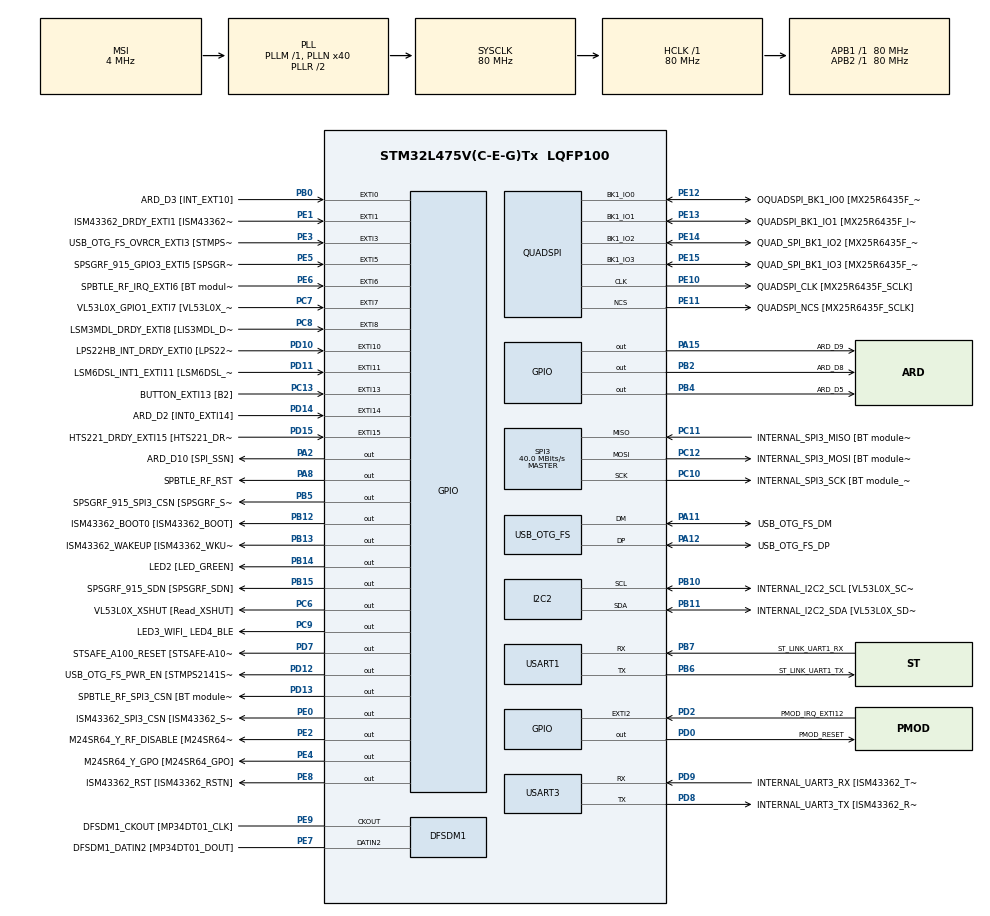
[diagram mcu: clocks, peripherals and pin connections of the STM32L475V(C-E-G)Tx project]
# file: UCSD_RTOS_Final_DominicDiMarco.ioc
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FREERTOS.Queues01=myQueue01,4,uint16_t,0,Dynamic,NULL,NULL
FREERTOS.Tasks01=TaskLED,0,128,StartTaskLED,Default,NULL,Dynamic,NULL,NULL;PeriodTimerLED,0,128,StartPeriodTimerLED,Default,NULL,Dynamic,NULL,NULL;OneShotTimerLED,0,128,StartOneShotTimerLED,Default,NULL,Dynamic,NULL,NULL;Queue1LEDs,0,128,StartQueue1LEDs,Default,NULL,Dynamic,NULL,NULL;Queue2LEDs,0,128,StartRQueue2LEDs,Default,NULL,Dynamic,NULL,NULL
FREERTOS.Timers01=myTimer01,Callback01,osTimerPeriodic,Default,NULL,Dynamic,NULL;myTimer02,Callback02,osTimerOnce,Default,NULL,Dynamic,NULL
FREERTOS.configTIMER_TASK_PRIORITY=1
FREERTOS.configTOTAL_HEAP_SIZE=5300
FREERTOS.configUSE_MALLOC_FAILED_HOOK=1
FREERTOS.configUSE_TIMERS=1
Mcu.Family=STM32L4
Mcu.Name=STM32L475V(C-E-G)Tx
Mcu.Package=LQFP100
NVIC.EXTI15_10_IRQn=true\:5\:0\:false\:false\:true\:true\:true\:true
NVIC.EXTI9_5_IRQn=true\:5\:0\:false\:false\:true\:true\:true\:true
NVIC.PriorityGroup=NVIC_PRIORITYGROUP_4
NVIC.TIM1_UP_TIM16_IRQn=true\:0\:0\:false\:false\:true\:false\:false\:true
NVIC.TimeBase=TIM1_UP_TIM16_IRQn
NVIC.TimeBaseIP=TIM1
PA0.GPIO_Label=ARD_D1 [UART4_TX]
PA0.Signal=UART4_TX
PA1.GPIO_Label=ARD_D0 [UART4_RX]
PA1.Signal=UART4_RX
PA10.GPIO_Label=USB_OTG_FS_ID
PA10.Signal=USB_OTG_FS_ID
PA11.GPIO_Label=USB_OTG_FS_DM
PA11.Mode=Device_Only
PA11.Signal=USB_OTG_FS_DM
PA12.GPIO_Label=USB_OTG_FS_DP
PA12.Mode=Device_Only
PA12.Signal=USB_OTG_FS_DP
PA13\ (JTMS-SWDIO).GPIO_Label=SYS_JTMS_SWDIO
PA13\ (JTMS-SWDIO).Mode=Serial_Wire
PA13\ (JTMS-SWDIO).Signal=SYS_JTMS-SWDIO
PA14\ (JTCK-SWCLK).GPIO_Label=SYS_JTCK_SWCLK
PA14\ (JTCK-SWCLK).Mode=Serial_Wire
PA14\ (JTCK-SWCLK).Signal=SYS_JTCK-SWCLK
PA15\ (JTDI).GPIO_Label=ARD_D9
PA15\ (JTDI).GPIO_PuPd=GPIO_PULLDOWN
PA15\ (JTDI).Signal=GPIO_Output
PA2.GPIO_Label=ARD_D10 [SPI_SSN]
PA2.GPIO_PuPd=GPIO_PULLDOWN
PA2.Signal=GPIO_Output
PA3.GPIO_Label=ARD_D4
PA3.Signal=S_TIM2_CH4
PA4.GPIO_Label=ARD_D7
PA4.Signal=ADCx_IN9
PA5.GPIO_Label=ARD_D13 [SPI1_SCK]
PA5.Signal=SPI1_SCK
PA6.GPIO_Label=ARD_D12 [SPI1_MISO]
PA6.Signal=SPI1_MISO
PA7.GPIO_Label=ARD_D11 [SPI1_MOSI]
PA7.Signal=SPI1_MOSI
PA8.GPIO_Label=SPBTLE_RF_RST
PA8.Signal=GPIO_Output
PA9.GPIO_Label=USB_OTG_FS_VBUS [STMPS2141STR_OUT]
PA9.Signal=USB_OTG_FS_VBUS
PB0.GPIO_Label=ARD_D3 [INT_EXT10]
PB0.Signal=GPXTI0
PB1.GPIO_Label=ARD_D6 [ADC1_IN6]
PB1.Signal=ADCx_IN16
PB10.GPIO_Label=INTERNAL_I2C2_SCL [VL53L0X_SCL]
PB10.Mode=I2C
PB10.Signal=I2C2_SCL
PB11.GPIO_Label=INTERNAL_I2C2_SDA [VL53L0X_SDA]
PB11.Mode=I2C
PB11.Signal=I2C2_SDA
PB12.GPIO_Label=ISM43362_BOOT0 [ISM43362_BOOT]
PB12.Signal=GPIO_Output
PB13.GPIO_Label=ISM43362_WAKEUP [ISM43362_WKUP]
PB13.Signal=GPIO_Output
PB14.GPIO_Label=LED2 [LED_GREEN]
PB14.Signal=GPIO_Output
PB15.GPIO_Label=SPSGRF_915_SDN [SPSGRF_SDN]
PB15.Signal=GPIO_Output
PB2.GPIO_Label=ARD_D8
PB2.GPIO_PuPd=GPIO_PULLDOWN
PB2.Signal=GPIO_Output
PB3\ (JTDO-TRACESWO).GPIO_Label=SYS_JTD0_SWO
PB3\ (JTDO-TRACESWO).Signal=SYS_JTDO-SWO
PB4\ (NJTRST).GPIO_Label=ARD_D5
PB4\ (NJTRST).GPIO_PuPd=GPIO_PULLDOWN
PB4\ (NJTRST).Signal=GPIO_Output
PB5.GPIO_Label=SPSGRF_915_SPI3_CSN [SPSGRF_SPI_CS]
PB5.PinState=GPIO_PIN_SET
PB5.Signal=GPIO_Output
PB6.GPIO_Label=ST_LINK_UART1_TX
PB6.Mode=Asynchronous
PB6.Signal=USART1_TX
PB7.GPIO_Label=ST_LINK_UART1_RX
PB7.Mode=Asynchronous
PB7.Signal=USART1_RX
PB8.GPIO_Label=ARD_D15 [I2C1_SCL]
PB8.Signal=I2C1_SCL
PB9.GPIO_Label=ARD_D14 [I2C1_SDA]
PB9.Signal=I2C1_SDA
PC0.GPIO_Label=ARD_A5 [ADC]
PC0.Signal=ADCx_IN1
PC1.GPIO_Label=ARD_A4 [ADC]
PC1.Signal=ADCx_IN2
PC10.GPIO_Label=INTERNAL_SPI3_SCK [BT module_SPI_SCLK] [ISM43362_SCK]
PC10.Mode=Full_Duplex_Master
PC10.Signal=SPI3_SCK
PC11.GPIO_Label=INTERNAL_SPI3_MISO [BT module_SPI_MISO] [ISM43362_MISO]
PC11.Mode=Full_Duplex_Master
PC11.Signal=SPI3_MISO
PC12.GPIO_Label=INTERNAL_SPI3_MOSI [BT module_SPI_MOSI] [ISM43362_MOSI]
PC12.Mode=Full_Duplex_Master
PC12.Signal=SPI3_MOSI
PC13.GPIO_Label=BUTTON_EXTI13 [B2]
PC13.GPIO_ModeDefaultEXTI=GPIO_MODE_IT_FALLING
PC13.Signal=GPXTI13
PC14-OSC32_IN\ (PC14).Mode=LSE-External-Oscillator
PC14-OSC32_IN\ (PC14).Signal=RCC_OSC32_IN
PC15-OSC32_OUT\ (PC15).Mode=LSE-External-Oscillator
PC15-OSC32_OUT\ (PC15).Signal=RCC_OSC32_OUT
PC2.GPIO_Label=ARD_A3 [ADC]
PC2.Signal=ADCx_IN3
PC3.GPIO_Label=ARD_A2 [ADC]
PC3.Signal=ADCx_IN4
PC4.GPIO_Label=ARD_A1 [ADC]
PC4.Signal=ADCx_IN13
PC5.GPIO_Label=ARD_A0 [ADC]
PC5.Signal=ADCx_IN14
PC6.GPIO_Label=VL53L0X_XSHUT [Read_XSHUT]
PC6.Signal=GPIO_Output
PC7.GPIO_Label=VL53L0X_GPIO1_EXTI7 [VL53L0X_GPIO1]
PC7.Signal=GPXTI7
PC8.GPIO_Label=LSM3MDL_DRDY_EXTI8 [LIS3MDL_DRDY]
PC8.Signal=GPXTI8
PC9.GPIO_Label=LED3_WIFI_ LED4_BLE
PC9.Signal=GPIO_Output
PD0.GPIO_Label=PMOD_RESET
PD0.Signal=GPIO_Output
PD1.GPIO_Label=PMOD_SPI2_SCK
PD1.Signal=SPI2_SCK
PD10.GPIO_Label=LPS22HB_INT_DRDY_EXTI0 [LPS22HB_INT_DRDY] 
PD10.Signal=GPXTI10
PD11.GPIO_Label=LSM6DSL_INT1_EXTI11 [LSM6DSL_INT1]
PD11.Signal=GPXTI11
PD12.GPIO_Label=USB_OTG_FS_PWR_EN [STMPS2141STR_EN]
PD12.Signal=GPIO_Output
PD13.GPIO_Label=SPBTLE_RF_SPI3_CSN [BT module_SPI_CS]
PD13.PinState=GPIO_PIN_SET
PD13.Signal=GPIO_Output
PD14.GPIO_Label=ARD_D2 [INT0_EXTI14]
PD14.Signal=GPXTI14
PD15.GPIO_Label=HTS221_DRDY_EXTI15 [HTS221_DRDY]
PD15.Signal=GPXTI15
PD2.GPIO_Label=PMOD_IRQ_EXTI12
PD2.Signal=GPXTI2
PD3.GPIO_Label=PMOD_UART2_CTS
PD3.Signal=USART2_CTS
PD4.GPIO_Label=PMOD_UART2_RTS
PD4.Signal=USART2_RTS
PD5.GPIO_Label=PMOD_UART2_TX
PD5.Signal=USART2_TX
PD6.GPIO_Label=PMOD_UART2_RX
PD6.Signal=USART2_RX
PD7.GPIO_Label=STSAFE_A100_RESET [STSAFE-A100_RESET]
PD7.Signal=GPIO_Output
PD8.GPIO_Label=INTERNAL_UART3_TX [ISM43362_RX]
PD8.Mode=Asynchronous
PD8.Signal=USART3_TX
PD9.GPIO_Label=INTERNAL_UART3_RX [ISM43362_TX]
PD9.Mode=Asynchronous
PD9.Signal=USART3_RX
PE0.GPIO_Label=ISM43362_SPI3_CSN [ISM43362_SSN]
PE0.PinState=GPIO_PIN_SET
PE0.Signal=GPIO_Output
PE1.GPIO_Label=ISM43362_DRDY_EXTI1 [ISM43362_DATARDY]
PE1.Signal=GPXTI1
PE10.GPIO_Label=QUADSPI_CLK [MX25R6435F_SCLK]
PE10.Mode=Single Bank
PE10.Signal=QUADSPI_CLK
PE11.GPIO_Label=QUADSPI_NCS [MX25R6435F_SCLK]
PE11.Mode=Single Bank
PE11.Signal=QUADSPI_NCS
PE12.GPIO_Label=OQUADSPI_BK1_IO0 [MX25R6435F_IO0]
PE12.Mode=Single Bank
PE12.Signal=QUADSPI_BK1_IO0
PE13.GPIO_Label=QUADSPI_BK1_IO1 [MX25R6435F_IO1]
PE13.Mode=Single Bank
PE13.Signal=QUADSPI_BK1_IO1
PE14.GPIO_Label=QUAD_SPI_BK1_IO2 [MX25R6435F_IO2]
PE14.Mode=Single Bank
PE14.Signal=QUADSPI_BK1_IO2
PE15.GPIO_Label=QUAD_SPI_BK1_IO3 [MX25R6435F_IO3]
PE15.Mode=Single Bank
PE15.Signal=QUADSPI_BK1_IO3
PE2.GPIO_Label=M24SR64_Y_RF_DISABLE [M24SR64_RFDIS]
PE2.Signal=GPIO_Output
PE3.GPIO_Label=USB_OTG_FS_OVRCR_EXTI3 [STMPS2141STR_FAULT]
PE3.Signal=GPXTI3
PE4.GPIO_Label=M24SR64_Y_GPO [M24SR64_GPO]
PE4.Signal=GPIO_Output
PE5.GPIO_Label=SPSGRF_915_GPIO3_EXTI5 [SPSGRF_GPIO_3]
PE5.Signal=GPXTI5
PE6.GPIO_Label=SPBTLE_RF_IRQ_EXTI6 [BT module_SPI_IRQ]
PE6.Signal=GPXTI6
PE7.GPIO_Label=DFSDM1_DATIN2 [MP34DT01_DOUT]
PE7.Signal=S_DATAIN2DFSDM1
PE8.GPIO_Label=ISM43362_RST [ISM43362_RSTN]
PE8.Signal=GPIO_Output
PE9.GPIO_Label=DFSDM1_CKOUT [MP34DT01_CLK]
PE9.Signal=S_CKOUTDFSDM1
ProjectManager.HeapSize=0x200
ProjectManager.StackSize=0x400
ProjectManager.TargetToolchain=STM32CubeIDE
QUADSPI.ClockPrescaler=2
QUADSPI.FifoThreshold=4
QUADSPI.FlashSize=23
QUADSPI.SampleShifting=QSPI_SAMPLE_SHIFTING_HALFCYCLE
RCC.ADCFreq_Value=48000000
RCC.AHBFreq_Value=80000000
RCC.APB1Freq_Value=80000000
RCC.APB1TimFreq_Value=80000000
RCC.APB2Freq_Value=80000000
RCC.APB2TimFreq_Value=80000000
RCC.CortexFreq_Value=80000000
RCC.HCLKFreq_Value=80000000
RCC.HSE_VALUE=8000000
RCC.HSI_VALUE=16000000
RCC.MSI_VALUE=4000000
RCC.PLLN=40
RCC.PLLSAI1N=24
RCC.SYSCLKFreq_VALUE=80000000
RCC.SYSCLKSource=RCC_SYSCLKSOURCE_PLLCLK
RCC.USBFreq_Value=48000000
RCC.VCOOutputFreq_Value=160000000
SH.ADCx_IN1.0=ADC1_IN1
SH.ADCx_IN13.0=ADC1_IN13
SH.ADCx_IN14.0=ADC1_IN14
SH.ADCx_IN16.0=ADC1_IN16
SH.ADCx_IN2.0=ADC1_IN2
SH.ADCx_IN3.0=ADC1_IN3
SH.ADCx_IN4.0=ADC1_IN4
SH.ADCx_IN9.0=ADC1_IN9
SH.S_CKOUTDFSDM1.0=DFSDM1_CKOUT,CKOUT
SH.S_CKOUTDFSDM1.1=DFSDM1_CKOUT,PDM_SPI_Input_from_ch12_and_Internal_Clock
SH.S_DATAIN2DFSDM1.0=DFSDM1_DATIN2,PDM_SPI_Input_from_ch12_and_Internal_Clock
SH.S_TIM2_CH4.0=TIM2_CH4
SPI3.CalculateBaudRate=40.0 MBits/s
SPI3.Direction=SPI_DIRECTION_2LINES
SPI3.Mode=SPI_MODE_MASTER
SPI3.VirtualType=VM_MASTER
USART1.VirtualMode-Asynchronous=VM_ASYNC
USART3.VirtualMode-Asynchronous=VM_ASYNC
USB_OTG_FS.VirtualMode=Device_Only
VP_FREERTOS_VS_CMSIS_V1.Mode=CMSIS_V1
VP_SYS_VS_tim1.Mode=TIM1
board=B-L475E-IOT01A1

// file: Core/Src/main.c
/* USER CODE BEGIN Header */
/**
  ******************************************************************************
  * @file           : main.c
  * @brief          : Main program body
  ******************************************************************************
  * @attention
  *
  * <h2><center>&copy; Copyright (c) 2021 STMicroelectronics.
  * All rights reserved.</center></h2>
  *
  * This software component is licensed by ST under BSD 3-Clause license,
  * the "License"; You may not use this file except in compliance with the
  * License. You may obtain a copy of the License at:
  *                        opensource.org/licenses/BSD-3-Clause
  *
  ******************************************************************************
  */
/* USER CODE END Header */
#include "main.h"
#include "cmsis_os.h"

DFSDM_Channel_HandleTypeDef hdfsdm1_channel1;

I2C_HandleTypeDef hi2c2;

QSPI_HandleTypeDef hqspi;

SPI_HandleTypeDef hspi3;

UART_HandleTypeDef huart1;
UART_HandleTypeDef huart3;

PCD_HandleTypeDef hpcd_USB_OTG_FS;

osThreadId TaskLEDHandle;
osThreadId PeriodTimerLEDHandle;
osThreadId OneShotTimerLEDHandle;
osThreadId Queue1LEDsHandle;
osThreadId Queue2LEDsHandle;
osMessageQId myQueue01Handle;
osTimerId myTimer01Handle;
osTimerId myTimer02Handle;

void SystemClock_Config(void);
static void MX_GPIO_Init(void);
static void MX_DFSDM1_Init(void);
static void MX_I2C2_Init(void);
static void MX_QUADSPI_Init(void);
static void MX_SPI3_Init(void);
static void MX_USART1_UART_Init(void);
static void MX_USART3_UART_Init(void);
static void MX_USB_OTG_FS_PCD_Init(void);
void StartTaskLED(void const * argument);
void StartPeriodTimerLED(void const * argument);
void StartOneShotTimerLED(void const * argument);
void StartQueue1LEDs(void const * argument);
void StartRQueue2LEDs(void const * argument);
void Callback01(void const * argument);
void Callback02(void const * argument);

int main(void)
{

  /* MCU Configuration--------------------------------------------------------*/

  /* Reset of all peripherals, Initializes the Flash interface and the Systick. */
  HAL_Init();

  /* Configure the system clock */
  SystemClock_Config();

  /* Initialize all configured peripherals */
  MX_GPIO_Init();
  MX_DFSDM1_Init();
  MX_I2C2_Init();
  MX_QUADSPI_Init();
  MX_SPI3_Init();
  MX_USART1_UART_Init();
  MX_USART3_UART_Init();
  MX_USB_OTG_FS_PCD_Init();

  /* Create the timer(s) */
  /* definition and creation of myTimer01 */

  // Periodic Timer
  osTimerDef(myTimer01, Callback01);
  myTimer01Handle = osTimerCreate(osTimer(myTimer01), osTimerPeriodic, NULL);

  /* definition and creation of myTimer02 */

  // One-Shot Timer
  osTimerDef(myTimer02, Callback02);
  myTimer02Handle = osTimerCreate(osTimer(myTimer02), osTimerOnce, NULL);

  /* Create the queue(s) */
  /* definition and creation of myQueue01 */
  osMessageQDef(myQueue01, 4, uint16_t);
  myQueue01Handle = osMessageCreate(osMessageQ(myQueue01), NULL);

  /* Create the thread(s) */
  /* definition and creation of TaskLED */

  // 1.) TaskLED Task (LED_2)
  osThreadDef(TaskLED, StartTaskLED, osPriorityNormal, 0, 128);
  TaskLEDHandle = osThreadCreate(osThread(TaskLED), NULL);

  /* definition and creation of PeriodTimerLED */

  // 2.) PeriodicTimerLED Task (ARD_D5_Pin)
  osThreadDef(PeriodTimerLED, StartPeriodTimerLED, osPriorityNormal, 0, 128);
  PeriodTimerLEDHandle = osThreadCreate(osThread(PeriodTimerLED), NULL);

  /* definition and creation of OneShotTimerLED */

  // 3.) OneShotTimerLED Task (ARD_D8_Pin)
  osThreadDef(OneShotTimerLED, StartOneShotTimerLED, osPriorityNormal, 0, 128);
  OneShotTimerLEDHandle = osThreadCreate(osThread(OneShotTimerLED), NULL);

  /* definition and creation of Queue1LEDs */

  // 4.) QueueLED Task (ARD_D9_Pin, ARD_D10_Pin) First Task
  osThreadDef(Queue1LEDs, StartQueue1LEDs, osPriorityNormal, 0, 128);
  Queue1LEDsHandle = osThreadCreate(osThread(Queue1LEDs), NULL);

  /* definition and creation of Queue2LEDs */

  // 4.) QueueLED Task (ARD_D9_Pin, ARD_D10_Pin) Second Task
  osThreadDef(Queue2LEDs, StartRQueue2LEDs, osPriorityNormal, 0, 128);
  Queue2LEDsHandle = osThreadCreate(osThread(Queue2LEDs), NULL);

  /* Start scheduler */
  osKernelStart();

  /* We should never get here as control is now taken by the scheduler */
  /* Infinite loop */
  while (1)
  {

  }
}

void SystemClock_Config(void)
{
  RCC_OscInitTypeDef RCC_OscInitStruct = {0};
  RCC_ClkInitTypeDef RCC_ClkInitStruct = {0};
  RCC_PeriphCLKInitTypeDef PeriphClkInit = {0};

  /** Configure LSE Drive Capability
  */
  HAL_PWR_EnableBkUpAccess();
  __HAL_RCC_LSEDRIVE_CONFIG(RCC_LSEDRIVE_LOW);
  /** Initializes the RCC Oscillators according to the specified parameters
  * in the RCC_OscInitTypeDef structure.
  */
  RCC_OscInitStruct.OscillatorType = RCC_OSCILLATORTYPE_LSE|RCC_OSCILLATORTYPE_MSI;
  RCC_OscInitStruct.LSEState = RCC_LSE_ON;
  RCC_OscInitStruct.MSIState = RCC_MSI_ON;
  RCC_OscInitStruct.MSICalibrationValue = 0;
  RCC_OscInitStruct.MSIClockRange = RCC_MSIRANGE_6;
  RCC_OscInitStruct.PLL.PLLState = RCC_PLL_ON;
  RCC_OscInitStruct.PLL.PLLSource = RCC_PLLSOURCE_MSI;
  RCC_OscInitStruct.PLL.PLLM = 1;
  RCC_OscInitStruct.PLL.PLLN = 40;
  RCC_OscInitStruct.PLL.PLLP = RCC_PLLP_DIV7;
  RCC_OscInitStruct.PLL.PLLQ = RCC_PLLQ_DIV2;
  RCC_OscInitStruct.PLL.PLLR = RCC_PLLR_DIV2;
  if (HAL_RCC_OscConfig(&RCC_OscInitStruct) != HAL_OK)
  {
    Error_Handler();
  }
  /** Initializes the CPU, AHB and APB buses clocks
  */
  RCC_ClkInitStruct.ClockType = RCC_CLOCKTYPE_HCLK|RCC_CLOCKTYPE_SYSCLK
                              |RCC_CLOCKTYPE_PCLK1|RCC_CLOCKTYPE_PCLK2;
  RCC_ClkInitStruct.SYSCLKSource = RCC_SYSCLKSOURCE_PLLCLK;
  RCC_ClkInitStruct.AHBCLKDivider = RCC_SYSCLK_DIV1;
  RCC_ClkInitStruct.APB1CLKDivider = RCC_HCLK_DIV1;
  RCC_ClkInitStruct.APB2CLKDivider = RCC_HCLK_DIV1;

  if (HAL_RCC_ClockConfig(&RCC_ClkInitStruct, FLASH_LATENCY_4) != HAL_OK)
  {
    Error_Handler();
  }
  PeriphClkInit.PeriphClockSelection = RCC_PERIPHCLK_USART1|RCC_PERIPHCLK_USART3
                              |RCC_PERIPHCLK_I2C2|RCC_PERIPHCLK_DFSDM1
                              |RCC_PERIPHCLK_USB;
  PeriphClkInit.Usart1ClockSelection = RCC_USART1CLKSOURCE_PCLK2;
  PeriphClkInit.Usart3ClockSelection = RCC_USART3CLKSOURCE_PCLK1;
  PeriphClkInit.I2c2ClockSelection = RCC_I2C2CLKSOURCE_PCLK1;
  PeriphClkInit.Dfsdm1ClockSelection = RCC_DFSDM1CLKSOURCE_PCLK;
  PeriphClkInit.UsbClockSelection = RCC_USBCLKSOURCE_PLLSAI1;
  PeriphClkInit.PLLSAI1.PLLSAI1Source = RCC_PLLSOURCE_MSI;
  PeriphClkInit.PLLSAI1.PLLSAI1M = 1;
  PeriphClkInit.PLLSAI1.PLLSAI1N = 24;
  PeriphClkInit.PLLSAI1.PLLSAI1P = RCC_PLLP_DIV7;
  PeriphClkInit.PLLSAI1.PLLSAI1Q = RCC_PLLQ_DIV2;
  PeriphClkInit.PLLSAI1.PLLSAI1R = RCC_PLLR_DIV2;
  PeriphClkInit.PLLSAI1.PLLSAI1ClockOut = RCC_PLLSAI1_48M2CLK;
  if (HAL_RCCEx_PeriphCLKConfig(&PeriphClkInit) != HAL_OK)
  {
    Error_Handler();
  }
  /** Configure the main internal regulator output voltage
  */
  if (HAL_PWREx_ControlVoltageScaling(PWR_REGULATOR_VOLTAGE_SCALE1) != HAL_OK)
  {
    Error_Handler();
  }
  /** Enable MSI Auto calibration
  */
  HAL_RCCEx_EnableMSIPLLMode();
}

static void MX_DFSDM1_Init(void)
{

  hdfsdm1_channel1.Instance = DFSDM1_Channel1;
  hdfsdm1_channel1.Init.OutputClock.Activation = ENABLE;
  hdfsdm1_channel1.Init.OutputClock.Selection = DFSDM_CHANNEL_OUTPUT_CLOCK_SYSTEM;
  hdfsdm1_channel1.Init.OutputClock.Divider = 2;
  hdfsdm1_channel1.Init.Input.Multiplexer = DFSDM_CHANNEL_EXTERNAL_INPUTS;
  hdfsdm1_channel1.Init.Input.DataPacking = DFSDM_CHANNEL_STANDARD_MODE;
  hdfsdm1_channel1.Init.Input.Pins = DFSDM_CHANNEL_FOLLOWING_CHANNEL_PINS;
  hdfsdm1_channel1.Init.SerialInterface.Type = DFSDM_CHANNEL_SPI_RISING;
  hdfsdm1_channel1.Init.SerialInterface.SpiClock = DFSDM_CHANNEL_SPI_CLOCK_INTERNAL;
  hdfsdm1_channel1.Init.Awd.FilterOrder = DFSDM_CHANNEL_FASTSINC_ORDER;
  hdfsdm1_channel1.Init.Awd.Oversampling = 1;
  hdfsdm1_channel1.Init.Offset = 0;
  hdfsdm1_channel1.Init.RightBitShift = 0x00;
  if (HAL_DFSDM_ChannelInit(&hdfsdm1_channel1) != HAL_OK)
  {
    Error_Handler();
  }

}

static void MX_I2C2_Init(void)
{

  hi2c2.Instance = I2C2;
  hi2c2.Init.Timing = 0x00000E14;
  hi2c2.Init.OwnAddress1 = 0;
  hi2c2.Init.AddressingMode = I2C_ADDRESSINGMODE_7BIT;
  hi2c2.Init.DualAddressMode = I2C_DUALADDRESS_DISABLE;
  hi2c2.Init.OwnAddress2 = 0;
  hi2c2.Init.OwnAddress2Masks = I2C_OA2_NOMASK;
  hi2c2.Init.GeneralCallMode = I2C_GENERALCALL_DISABLE;
  hi2c2.Init.NoStretchMode = I2C_NOSTRETCH_DISABLE;
  if (HAL_I2C_Init(&hi2c2) != HAL_OK)
  {
    Error_Handler();
  }
  /** Configure Analogue filter
  */
  if (HAL_I2CEx_ConfigAnalogFilter(&hi2c2, I2C_ANALOGFILTER_ENABLE) != HAL_OK)
  {
    Error_Handler();
  }
  /** Configure Digital filter
  */
  if (HAL_I2CEx_ConfigDigitalFilter(&hi2c2, 0) != HAL_OK)
  {
    Error_Handler();
  }

}

static void MX_QUADSPI_Init(void)
{

  /* QUADSPI parameter configuration*/
  hqspi.Instance = QUADSPI;
  hqspi.Init.ClockPrescaler = 2;
  hqspi.Init.FifoThreshold = 4;
  hqspi.Init.SampleShifting = QSPI_SAMPLE_SHIFTING_HALFCYCLE;
  hqspi.Init.FlashSize = 23;
  hqspi.Init.ChipSelectHighTime = QSPI_CS_HIGH_TIME_1_CYCLE;
  hqspi.Init.ClockMode = QSPI_CLOCK_MODE_0;
  if (HAL_QSPI_Init(&hqspi) != HAL_OK)
  {
    Error_Handler();
  }

}

static void MX_SPI3_Init(void)
{

  /* SPI3 parameter configuration*/
  hspi3.Instance = SPI3;
  hspi3.Init.Mode = SPI_MODE_MASTER;
  hspi3.Init.Direction = SPI_DIRECTION_2LINES;
  hspi3.Init.DataSize = SPI_DATASIZE_4BIT;
  hspi3.Init.CLKPolarity = SPI_POLARITY_LOW;
  hspi3.Init.CLKPhase = SPI_PHASE_1EDGE;
  hspi3.Init.NSS = SPI_NSS_SOFT;
  hspi3.Init.BaudRatePrescaler = SPI_BAUDRATEPRESCALER_2;
  hspi3.Init.FirstBit = SPI_FIRSTBIT_MSB;
  hspi3.Init.TIMode = SPI_TIMODE_DISABLE;
  hspi3.Init.CRCCalculation = SPI_CRCCALCULATION_DISABLE;
  hspi3.Init.CRCPolynomial = 7;
  hspi3.Init.CRCLength = SPI_CRC_LENGTH_DATASIZE;
  hspi3.Init.NSSPMode = SPI_NSS_PULSE_ENABLE;
  if (HAL_SPI_Init(&hspi3) != HAL_OK)
  {
    Error_Handler();
  }

}

static void MX_USART1_UART_Init(void)
{

  huart1.Instance = USART1;
  huart1.Init.BaudRate = 115200;
  huart1.Init.WordLength = UART_WORDLENGTH_8B;
  huart1.Init.StopBits = UART_STOPBITS_1;
  huart1.Init.Parity = UART_PARITY_NONE;
  huart1.Init.Mode = UART_MODE_TX_RX;
  huart1.Init.HwFlowCtl = UART_HWCONTROL_NONE;
  huart1.Init.OverSampling = UART_OVERSAMPLING_16;
  huart1.Init.OneBitSampling = UART_ONE_BIT_SAMPLE_DISABLE;
  huart1.AdvancedInit.AdvFeatureInit = UART_ADVFEATURE_NO_INIT;
  if (HAL_UART_Init(&huart1) != HAL_OK)
  {
    Error_Handler();
  }

}

static void MX_USART3_UART_Init(void)
{

  huart3.Instance = USART3;
  huart3.Init.BaudRate = 115200;
  huart3.Init.WordLength = UART_WORDLENGTH_8B;
  huart3.Init.StopBits = UART_STOPBITS_1;
  huart3.Init.Parity = UART_PARITY_NONE;
  huart3.Init.Mode = UART_MODE_TX_RX;
  huart3.Init.HwFlowCtl = UART_HWCONTROL_NONE;
  huart3.Init.OverSampling = UART_OVERSAMPLING_16;
  huart3.Init.OneBitSampling = UART_ONE_BIT_SAMPLE_DISABLE;
  huart3.AdvancedInit.AdvFeatureInit = UART_ADVFEATURE_NO_INIT;
  if (HAL_UART_Init(&huart3) != HAL_OK)
  {
    Error_Handler();
  }

}

static void MX_USB_OTG_FS_PCD_Init(void)
{

  hpcd_USB_OTG_FS.Instance = USB_OTG_FS;
  hpcd_USB_OTG_FS.Init.dev_endpoints = 6;
  hpcd_USB_OTG_FS.Init.speed = PCD_SPEED_FULL;
  hpcd_USB_OTG_FS.Init.phy_itface = PCD_PHY_EMBEDDED;
  hpcd_USB_OTG_FS.Init.Sof_enable = DISABLE;
  hpcd_USB_OTG_FS.Init.low_power_enable = DISABLE;
  hpcd_USB_OTG_FS.Init.lpm_enable = DISABLE;
  hpcd_USB_OTG_FS.Init.battery_charging_enable = DISABLE;
  hpcd_USB_OTG_FS.Init.use_dedicated_ep1 = DISABLE;
  hpcd_USB_OTG_FS.Init.vbus_sensing_enable = DISABLE;
  if (HAL_PCD_Init(&hpcd_USB_OTG_FS) != HAL_OK)
  {
    Error_Handler();
  }

}

static void MX_GPIO_Init(void)
{
  GPIO_InitTypeDef GPIO_InitStruct = {0};

  /* GPIO Ports Clock Enable */
  __HAL_RCC_GPIOE_CLK_ENABLE();
  __HAL_RCC_GPIOC_CLK_ENABLE();
  __HAL_RCC_GPIOA_CLK_ENABLE();
  __HAL_RCC_GPIOB_CLK_ENABLE();
  __HAL_RCC_GPIOD_CLK_ENABLE();

  /*Configure GPIO pin Output Level */
  HAL_GPIO_WritePin(GPIOE, M24SR64_Y_RF_DISABLE_Pin|M24SR64_Y_GPO_Pin|ISM43362_RST_Pin, GPIO_PIN_RESET);

  /*Configure GPIO pin Output Level */
  HAL_GPIO_WritePin(GPIOA, ARD_D10_Pin|SPBTLE_RF_RST_Pin|ARD_D9_Pin, GPIO_PIN_RESET);

  /*Configure GPIO pin Output Level */
  HAL_GPIO_WritePin(GPIOB, ARD_D8_Pin|ISM43362_BOOT0_Pin|ISM43362_WAKEUP_Pin|LED2_Pin
                          |SPSGRF_915_SDN_Pin|ARD_D5_Pin, GPIO_PIN_RESET);

  /*Configure GPIO pin Output Level */
  HAL_GPIO_WritePin(GPIOD, USB_OTG_FS_PWR_EN_Pin|PMOD_RESET_Pin|STSAFE_A100_RESET_Pin, GPIO_PIN_RESET);

  /*Configure GPIO pin Output Level */
  HAL_GPIO_WritePin(SPBTLE_RF_SPI3_CSN_GPIO_Port, SPBTLE_RF_SPI3_CSN_Pin, GPIO_PIN_SET);

  /*Configure GPIO pin Output Level */
  HAL_GPIO_WritePin(GPIOC, VL53L0X_XSHUT_Pin|LED3_WIFI__LED4_BLE_Pin, GPIO_PIN_RESET);

  /*Configure GPIO pin Output Level */
  HAL_GPIO_WritePin(SPSGRF_915_SPI3_CSN_GPIO_Port, SPSGRF_915_SPI3_CSN_Pin, GPIO_PIN_SET);

  /*Configure GPIO pin Output Level */
  HAL_GPIO_WritePin(ISM43362_SPI3_CSN_GPIO_Port, ISM43362_SPI3_CSN_Pin, GPIO_PIN_SET);

  /*Configure GPIO pins : M24SR64_Y_RF_DISABLE_Pin M24SR64_Y_GPO_Pin ISM43362_RST_Pin ISM43362_SPI3_CSN_Pin */
  GPIO_InitStruct.Pin = M24SR64_Y_RF_DISABLE_Pin|M24SR64_Y_GPO_Pin|ISM43362_RST_Pin|ISM43362_SPI3_CSN_Pin;
  GPIO_InitStruct.Mode = GPIO_MODE_OUTPUT_PP;
  GPIO_InitStruct.Pull = GPIO_NOPULL;
  GPIO_InitStruct.Speed = GPIO_SPEED_FREQ_LOW;
  HAL_GPIO_Init(GPIOE, &GPIO_InitStruct);

  /*Configure GPIO pins : USB_OTG_FS_OVRCR_EXTI3_Pin SPSGRF_915_GPIO3_EXTI5_Pin SPBTLE_RF_IRQ_EXTI6_Pin ISM43362_DRDY_EXTI1_Pin */
  GPIO_InitStruct.Pin = USB_OTG_FS_OVRCR_EXTI3_Pin|SPSGRF_915_GPIO3_EXTI5_Pin|SPBTLE_RF_IRQ_EXTI6_Pin|ISM43362_DRDY_EXTI1_Pin;
  GPIO_InitStruct.Mode = GPIO_MODE_IT_RISING;
  GPIO_InitStruct.Pull = GPIO_NOPULL;
  HAL_GPIO_Init(GPIOE, &GPIO_InitStruct);

  /*Configure GPIO pin : BUTTON_EXTI13_Pin */
  GPIO_InitStruct.Pin = BUTTON_EXTI13_Pin;
  GPIO_InitStruct.Mode = GPIO_MODE_IT_FALLING;
  GPIO_InitStruct.Pull = GPIO_NOPULL;
  HAL_GPIO_Init(BUTTON_EXTI13_GPIO_Port, &GPIO_InitStruct);

  /*Configure GPIO pins : ARD_A5_Pin ARD_A4_Pin ARD_A3_Pin ARD_A2_Pin
                           ARD_A1_Pin ARD_A0_Pin */
  GPIO_InitStruct.Pin = ARD_A5_Pin|ARD_A4_Pin|ARD_A3_Pin|ARD_A2_Pin
                          |ARD_A1_Pin|ARD_A0_Pin;
  GPIO_InitStruct.Mode = GPIO_MODE_ANALOG_ADC_CONTROL;
  GPIO_InitStruct.Pull = GPIO_NOPULL;
  HAL_GPIO_Init(GPIOC, &GPIO_InitStruct);

  /*Configure GPIO pins : ARD_D1_Pin ARD_D0_Pin */
  GPIO_InitStruct.Pin = ARD_D1_Pin|ARD_D0_Pin;
  GPIO_InitStruct.Mode = GPIO_MODE_AF_PP;
  GPIO_InitStruct.Pull = GPIO_NOPULL;
  GPIO_InitStruct.Speed = GPIO_SPEED_FREQ_VERY_HIGH;
  GPIO_InitStruct.Alternate = GPIO_AF8_UART4;
  HAL_GPIO_Init(GPIOA, &GPIO_InitStruct);

  /*Configure GPIO pins : ARD_D10_Pin ARD_D9_Pin */
  GPIO_InitStruct.Pin = ARD_D10_Pin|ARD_D9_Pin;
  GPIO_InitStruct.Mode = GPIO_MODE_OUTPUT_PP;
  GPIO_InitStruct.Pull = GPIO_PULLDOWN;
  GPIO_InitStruct.Speed = GPIO_SPEED_FREQ_LOW;
  HAL_GPIO_Init(GPIOA, &GPIO_InitStruct);

  /*Configure GPIO pin : ARD_D4_Pin */
  GPIO_InitStruct.Pin = ARD_D4_Pin;
  GPIO_InitStruct.Mode = GPIO_MODE_AF_PP;
  GPIO_InitStruct.Pull = GPIO_NOPULL;
  GPIO_InitStruct.Speed = GPIO_SPEED_FREQ_LOW;
  GPIO_InitStruct.Alternate = GPIO_AF1_TIM2;
  HAL_GPIO_Init(ARD_D4_GPIO_Port, &GPIO_InitStruct);

  /*Configure GPIO pin : ARD_D7_Pin */
  GPIO_InitStruct.Pin = ARD_D7_Pin;
  GPIO_InitStruct.Mode = GPIO_MODE_ANALOG_ADC_CONTROL;
  GPIO_InitStruct.Pull = GPIO_NOPULL;
  HAL_GPIO_Init(ARD_D7_GPIO_Port, &GPIO_InitStruct);

  /*Configure GPIO pins : ARD_D13_Pin ARD_D12_Pin ARD_D11_Pin */
  GPIO_InitStruct.Pin = ARD_D13_Pin|ARD_D12_Pin|ARD_D11_Pin;
  GPIO_InitStruct.Mode = GPIO_MODE_AF_PP;
  GPIO_InitStruct.Pull = GPIO_NOPULL;
  GPIO_InitStruct.Speed = GPIO_SPEED_FREQ_VERY_HIGH;
  GPIO_InitStruct.Alternate = GPIO_AF5_SPI1;
  HAL_GPIO_Init(GPIOA, &GPIO_InitStruct);

  /*Configure GPIO pin : ARD_D3_Pin */
  GPIO_InitStruct.Pin = ARD_D3_Pin;
  GPIO_InitStruct.Mode = GPIO_MODE_IT_RISING;
  GPIO_InitStruct.Pull = GPIO_NOPULL;
  HAL_GPIO_Init(ARD_D3_GPIO_Port, &GPIO_InitStruct);

  /*Configure GPIO pin : ARD_D6_Pin */
  GPIO_InitStruct.Pin = ARD_D6_Pin;
  GPIO_InitStruct.Mode = GPIO_MODE_ANALOG_ADC_CONTROL;
  GPIO_InitStruct.Pull = GPIO_NOPULL;
  HAL_GPIO_Init(ARD_D6_GPIO_Port, &GPIO_InitStruct);

  /*Configure GPIO pins : ARD_D8_Pin ARD_D5_Pin */
  GPIO_InitStruct.Pin = ARD_D8_Pin|ARD_D5_Pin;
  GPIO_InitStruct.Mode = GPIO_MODE_OUTPUT_PP;
  GPIO_InitStruct.Pull = GPIO_PULLDOWN;
  GPIO_InitStruct.Speed = GPIO_SPEED_FREQ_LOW;
  HAL_GPIO_Init(GPIOB, &GPIO_InitStruct);

  /*Configure GPIO pins : ISM43362_BOOT0_Pin ISM43362_WAKEUP_Pin LED2_Pin SPSGRF_915_SDN_Pin
                           SPSGRF_915_SPI3_CSN_Pin */
  GPIO_InitStruct.Pin = ISM43362_BOOT0_Pin|ISM43362_WAKEUP_Pin|LED2_Pin|SPSGRF_915_SDN_Pin
                          |SPSGRF_915_SPI3_CSN_Pin;
  GPIO_InitStruct.Mode = GPIO_MODE_OUTPUT_PP;
  GPIO_InitStruct.Pull = GPIO_NOPULL;
  GPIO_InitStruct.Speed = GPIO_SPEED_FREQ_LOW;
  HAL_GPIO_Init(GPIOB, &GPIO_InitStruct);

  /*Configure GPIO pins : LPS22HB_INT_DRDY_EXTI0_Pin LSM6DSL_INT1_EXTI11_Pin ARD_D2_Pin HTS221_DRDY_EXTI15_Pin
                           PMOD_IRQ_EXTI12_Pin */
  GPIO_InitStruct.Pin = LPS22HB_INT_DRDY_EXTI0_Pin|LSM6DSL_INT1_EXTI11_Pin|ARD_D2_Pin|HTS221_DRDY_EXTI15_Pin
                          |PMOD_IRQ_EXTI12_Pin;
  GPIO_InitStruct.Mode = GPIO_MODE_IT_RISING;
  GPIO_InitStruct.Pull = GPIO_NOPULL;
  HAL_GPIO_Init(GPIOD, &GPIO_InitStruct);

  /*Configure GPIO pins : USB_OTG_FS_PWR_EN_Pin SPBTLE_RF_SPI3_CSN_Pin PMOD_RESET_Pin STSAFE_A100_RESET_Pin */
  GPIO_InitStruct.Pin = USB_OTG_FS_PWR_EN_Pin|SPBTLE_RF_SPI3_CSN_Pin|PMOD_RESET_Pin|STSAFE_A100_RESET_Pin;
  GPIO_InitStruct.Mode = GPIO_MODE_OUTPUT_PP;
  GPIO_InitStruct.Pull = GPIO_NOPULL;
  GPIO_InitStruct.Speed = GPIO_SPEED_FREQ_LOW;
  HAL_GPIO_Init(GPIOD, &GPIO_InitStruct);

  /*Configure GPIO pins : VL53L0X_XSHUT_Pin LED3_WIFI__LED4_BLE_Pin */
  GPIO_InitStruct.Pin = VL53L0X_XSHUT_Pin|LED3_WIFI__LED4_BLE_Pin;
  GPIO_InitStruct.Mode = GPIO_MODE_OUTPUT_PP;
  GPIO_InitStruct.Pull = GPIO_NOPULL;
  GPIO_InitStruct.Speed = GPIO_SPEED_FREQ_LOW;
  HAL_GPIO_Init(GPIOC, &GPIO_InitStruct);

  /*Configure GPIO pins : VL53L0X_GPIO1_EXTI7_Pin LSM3MDL_DRDY_EXTI8_Pin */
  GPIO_InitStruct.Pin = VL53L0X_GPIO1_EXTI7_Pin|LSM3MDL_DRDY_EXTI8_Pin;
  GPIO_InitStruct.Mode = GPIO_MODE_IT_RISING;
  GPIO_InitStruct.Pull = GPIO_NOPULL;
  HAL_GPIO_Init(GPIOC, &GPIO_InitStruct);

  /*Configure GPIO pin : SPBTLE_RF_RST_Pin */
  GPIO_InitStruct.Pin = SPBTLE_RF_RST_Pin;
  GPIO_InitStruct.Mode = GPIO_MODE_OUTPUT_PP;
  GPIO_InitStruct.Pull = GPIO_NOPULL;
  GPIO_InitStruct.Speed = GPIO_SPEED_FREQ_LOW;
  HAL_GPIO_Init(SPBTLE_RF_RST_GPIO_Port, &GPIO_InitStruct);

  /*Configure GPIO pin : PMOD_SPI2_SCK_Pin */
  GPIO_InitStruct.Pin = PMOD_SPI2_SCK_Pin;
  GPIO_InitStruct.Mode = GPIO_MODE_AF_PP;
  GPIO_InitStruct.Pull = GPIO_NOPULL;
  GPIO_InitStruct.Speed = GPIO_SPEED_FREQ_VERY_HIGH;
  GPIO_InitStruct.Alternate = GPIO_AF5_SPI2;
  HAL_GPIO_Init(PMOD_SPI2_SCK_GPIO_Port, &GPIO_InitStruct);

  /*Configure GPIO pins : PMOD_UART2_CTS_Pin PMOD_UART2_RTS_Pin PMOD_UART2_TX_Pin PMOD_UART2_RX_Pin */
  GPIO_InitStruct.Pin = PMOD_UART2_CTS_Pin|PMOD_UART2_RTS_Pin|PMOD_UART2_TX_Pin|PMOD_UART2_RX_Pin;
  GPIO_InitStruct.Mode = GPIO_MODE_AF_PP;
  GPIO_InitStruct.Pull = GPIO_NOPULL;
  GPIO_InitStruct.Speed = GPIO_SPEED_FREQ_VERY_HIGH;
  GPIO_InitStruct.Alternate = GPIO_AF7_USART2;
  HAL_GPIO_Init(GPIOD, &GPIO_InitStruct);

  /*Configure GPIO pins : ARD_D15_Pin ARD_D14_Pin */
  GPIO_InitStruct.Pin = ARD_D15_Pin|ARD_D14_Pin;
  GPIO_InitStruct.Mode = GPIO_MODE_AF_OD;
  GPIO_InitStruct.Pull = GPIO_PULLUP;
  GPIO_InitStruct.Speed = GPIO_SPEED_FREQ_VERY_HIGH;
  GPIO_InitStruct.Alternate = GPIO_AF4_I2C1;
  HAL_GPIO_Init(GPIOB, &GPIO_InitStruct);

  /* EXTI interrupt init*/
  HAL_NVIC_SetPriority(EXTI9_5_IRQn, 5, 0);
  HAL_NVIC_EnableIRQ(EXTI9_5_IRQn);

  HAL_NVIC_SetPriority(EXTI15_10_IRQn, 5, 0);
  HAL_NVIC_EnableIRQ(EXTI15_10_IRQn);

}

void StartTaskLED(void const * argument)
{
  /* USER CODE BEGIN 5 */
  /* Infinite loop */
  for(;;)
  {
	// Flash Green LED every 1 second, independently via osDelay
	HAL_GPIO_TogglePin(GPIOB, LED2_Pin);
    osDelay(1000);
  }
  /* USER CODE END 5 */
}

void StartPeriodTimerLED(void const * argument)
{
  /* USER CODE BEGIN StartPeriodTimerLED */
	//osTimerStart(myTimer01Handle, 0);
  /* Infinite loop */
  for(;;)
  {
	  // Flash Breadboard LED D every 2 seconds via periodic timer
	  osDelay(2000);
	  HAL_GPIO_TogglePin(GPIOB, ARD_D5_Pin);
	  osTimerStart(myTimer01Handle,1000);

	  //osTimerStart(myTimer01Handle,500);
  }
  /* USER CODE END StartPeriodTimerLED */
}

void StartOneShotTimerLED(void const * argument)
{
  /* USER CODE BEGIN StartOneShotTimerLED */
  /* Infinite loop */
  for(;;)
  {
	  // Flash Breadboard LED C via an Interrupt (On-board Blue Button) and a One-shot timer

	  // If blue button is pressed...
	  if(!(HAL_GPIO_ReadPin(GPIOC, GPIO_PIN_13)))
	  {
		  // Go to callback to toggle LED
		  Callback02(myTimer01Handle);
	  }

  }
  /* USER CODE END StartOneShotTimerLED */
}

void StartQueue1LEDs(void const * argument)
{
  /* USER CODE BEGIN StartQueue1LEDs */
	int32_t lReceiveValue;
    BaseType_t xStatus;
  /* Infinite loop */
  for(;;)
  {
	  // Ping-Pong LED A and B via a Queue (LED A on, LED B off)
	  osDelay(1000);		// Wait 1 second (to synchronize 2nd resource)
	  // Send to queue request to toggle LED
	  xStatus = xQueueSend(myQueue01Handle, &lReceiveValue, pdMS_TO_TICKS(1));
	  if(xStatus == pdPASS)	// If queue send is successful...
	  {
		  // Turn LED A on, LED B off, and wait for input from next queue item
		  HAL_GPIO_WritePin(GPIOA, ARD_D9_Pin, GPIO_PIN_SET);
		  HAL_GPIO_WritePin(GPIOA, ARD_D10_Pin, GPIO_PIN_RESET);
		  xStatus = xQueueReceive(myQueue01Handle, &lReceiveValue, pdMS_TO_TICKS(1));
		  osDelay(1000);	// Wait 1 second (to synchronize 2nd resource)
	  }
  }
  /* USER CODE END StartQueue1LEDs */
}

void StartRQueue2LEDs(void const * argument)
{
  /* USER CODE BEGIN StartRQueue2LEDs */
  /* Infinite loop */
	int32_t lReceiveValue;
    BaseType_t xStatus;
  for(;;)
  {
	  // Ping-Pong LED A and B via a Queue (LED A off, LED B on)
	  osDelay(2000);		// Wait 2 seconds (to synchronize 2nd resource)
	  // Send to queue request to toggle LED
	  xStatus = xQueueSend(myQueue01Handle, &lReceiveValue, pdMS_TO_TICKS(1));
	  if(xStatus == pdPASS)	// If queue send is successful...
	  {
		  // Turn LED A off, LED B on, and wait for input from next queue item
		  HAL_GPIO_WritePin(GPIOA, ARD_D9_Pin, GPIO_PIN_RESET);
		  HAL_GPIO_WritePin(GPIOA, ARD_D10_Pin, GPIO_PIN_SET);
		  xStatus = xQueueReceive(myQueue01Handle, &lReceiveValue, pdMS_TO_TICKS(1));
	  }
  }
  /* USER CODE END StartRQueue2LEDs */
}

/* Callback01 function */
void Callback01(void const * argument)
{
  /* USER CODE BEGIN Callback01 */

    //osDelay(1000);			// Flash Green LED every 1 second
  /* USER CODE END Callback01 */
}

/* Callback02 function */
void Callback02(void const * argument)
{
  /* USER CODE BEGIN Callback02 */

	// Toggle LED on/off when interrupt reaches this callback
	osTimerStart(myTimer02Handle,1000);
	HAL_GPIO_TogglePin(GPIOB, ARD_D8_Pin);

  /* USER CODE END Callback02 */
}

 /**
  * @brief  Period elapsed callback in non blocking mode
  * @note   This function is called  when TIM1 interrupt took place, inside
  * HAL_TIM_IRQHandler(). It makes a direct call to HAL_IncTick() to increment
  * a global variable "uwTick" used as application time base.
  * @param  htim : TIM handle
  * @retval None
  */
void HAL_TIM_PeriodElapsedCallback(TIM_HandleTypeDef *htim)
{
  if (htim->Instance == TIM1) {
    HAL_IncTick();
  }
}

void Error_Handler(void)
{
  __disable_irq();
  while (1)
  {
  }
}

/************************ (C) COPYRIGHT STMicroelectronics *****END OF FILE****/

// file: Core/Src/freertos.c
/* USER CODE BEGIN Header */
/**
  ******************************************************************************
  * File Name          : freertos.c
  * Description        : Code for freertos applications
  ******************************************************************************
  * @attention
  *
  * <h2><center>&copy; Copyright (c) 2021 STMicroelectronics.
  * All rights reserved.</center></h2>
  *
  * This software component is licensed by ST under Ultimate Liberty license
  * SLA0044, the "License"; You may not use this file except in compliance with
  * the License. You may obtain a copy of the License at:
  *                             www.st.com/SLA0044
  *
  ******************************************************************************
  */
/* USER CODE END Header */

#include "FreeRTOS.h"
#include "task.h"
#include "main.h"

/* GetIdleTaskMemory prototype (linked to static allocation support) */
void vApplicationGetIdleTaskMemory( StaticTask_t **ppxIdleTaskTCBBuffer, StackType_t **ppxIdleTaskStackBuffer, uint32_t *pulIdleTaskStackSize );

/* GetTimerTaskMemory prototype (linked to static allocation support) */
void vApplicationGetTimerTaskMemory( StaticTask_t **ppxTimerTaskTCBBuffer, StackType_t **ppxTimerTaskStackBuffer, uint32_t *pulTimerTaskStackSize );

/* Hook prototypes */
void vApplicationMallocFailedHook(void);

/* USER CODE BEGIN 5 */
__weak void vApplicationMallocFailedHook(void)
{
   /* vApplicationMallocFailedHook() will only be called if
   configUSE_MALLOC_FAILED_HOOK is set to 1 in FreeRTOSConfig.h. It is a hook
   function that will get called if a call to pvPortMalloc() fails.
   pvPortMalloc() is called internally by the kernel whenever a task, queue,
   timer or semaphore is created. It is also called by various parts of the
   demo application. If heap_1.c or heap_2.c are used, then the size of the
   heap available to pvPortMalloc() is defined by configTOTAL_HEAP_SIZE in
   FreeRTOSConfig.h, and the xPortGetFreeHeapSize() API function can be used
   to query the size of free heap space that remains (although it does not
   provide information on how the remaining heap might be fragmented). */
}
/* USER CODE END 5 */

/* USER CODE BEGIN GET_IDLE_TASK_MEMORY */
static StaticTask_t xIdleTaskTCBBuffer;
static StackType_t xIdleStack[configMINIMAL_STACK_SIZE];

void vApplicationGetIdleTaskMemory( StaticTask_t **ppxIdleTaskTCBBuffer, StackType_t **ppxIdleTaskStackBuffer, uint32_t *pulIdleTaskStackSize )
{
  *ppxIdleTaskTCBBuffer = &xIdleTaskTCBBuffer;
  *ppxIdleTaskStackBuffer = &xIdleStack[0];
  *pulIdleTaskStackSize = configMINIMAL_STACK_SIZE;
  /* place for user code */
}
/* USER CODE END GET_IDLE_TASK_MEMORY */

/* USER CODE BEGIN GET_TIMER_TASK_MEMORY */
static StaticTask_t xTimerTaskTCBBuffer;
static StackType_t xTimerStack[configTIMER_TASK_STACK_DEPTH];

void vApplicationGetTimerTaskMemory( StaticTask_t **ppxTimerTaskTCBBuffer, StackType_t **ppxTimerTaskStackBuffer, uint32_t *pulTimerTaskStackSize )
{
  *ppxTimerTaskTCBBuffer = &xTimerTaskTCBBuffer;
  *ppxTimerTaskStackBuffer = &xTimerStack[0];
  *pulTimerTaskStackSize = configTIMER_TASK_STACK_DEPTH;
  /* place for user code */
}
/* USER CODE END GET_TIMER_TASK_MEMORY */

/************************ (C) COPYRIGHT STMicroelectronics *****END OF FILE****/
